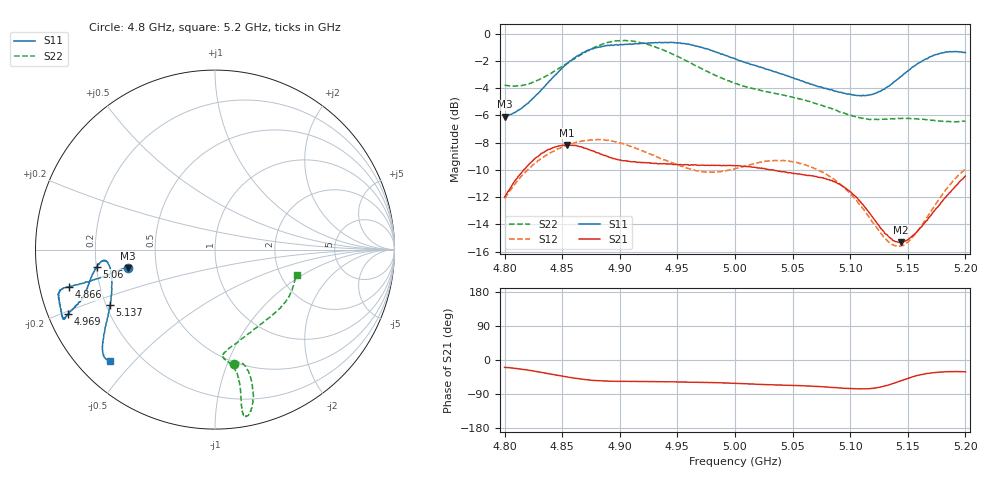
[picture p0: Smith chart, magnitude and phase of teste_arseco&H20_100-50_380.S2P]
! Network Analyzer HP8722D
! Hewlett-Packard
! Data name: Linha & Wilkinson
! Saver's name: Rodrigo Anjos
! Comments: Teste da utilização de aquisição
! continua pelo VNA HP8722D
! Time and date: 6/5/2025 15:44
!  Frequency  S11  S21  S12  S22
# HZ  S  MA R 50
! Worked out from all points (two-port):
!   401 points, 4.8 GHz to 5.2 GHz, reference 50 ohm
!   highest |S21| = -8.17 dB at 4.854 GHz (marker M1); lowest = -15.3 dB at 5.144 GHz (marker M2)
!   |S21| within 3 dB of the highest: 4.806 GHz to 5.093 GHz (286.8 MHz wide, 5.79 % of centre); 5.191835 GHz to end of sweep
!   lowest |S11| = -6.1 dB at 4.8 GHz (marker M3), VSWR 2.97, Z = 17 - j4.6 ohm
!   |S11| at or under -10 dB: nowhere
!   |S22| runs from -6.5 to -0.5 dB; largest |S21 - S12| = 0.62
!   S11 on the Smith chart (normalised r, x): 4.8 GHz: 0.34, -0.09; 4.866 GHz: 0.09, -0.13; 4.969 GHz: 0.06, -0.21; 5.06 GHz: 0.20, -0.07; 5.137 GHz: 0.22, -0.24; 5.2 GHz: 0.09, -0.43
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4.8e9  0.4961 -168.1  0.2513 -19.4  0.2484 -140.7  0.6476 -80.4
4.826e9  0.5872 -167.2  0.3473 -29.5  0.3328 -144.3  0.6664 -75.5
4.854e9  0.776 -165.8  0.3903 -44.7  0.3889 -149.7  0.7775 -74.7
4.866e9  0.8412 -165.5  0.3846 -50.1  0.4027 -151.7  0.8367 -75.2
4.867e9  0.849 -165.8  0.384 -50.5  0.4027 -151.8  0.8434 -75.3
4.88e9  0.8898 -165.4  0.3657 -54.4  0.4088 -154.0  0.9006 -76.6
4.899e9  0.9106 -162.7  0.3442 -56.4  0.3983 -156.5  0.9434 -79.0
4.914e9  0.9204 -159.4  0.338 -56.4  0.3788 -157.0  0.9373 -80.2
4.934e9  0.9305 -156.3  0.3329 -57.4  0.3514 -155.5  0.8838 -80.4
4.969e9  0.8959 -156.3  0.3284 -58.8  0.3127 -147.2  0.7527 -79.6
5e9  0.8097 -159.0  0.3277 -61.6  0.3199 -137.1  0.657 -81.2
5.036e9  0.7236 -165.5  0.3142 -65.7  0.3421 -134.2  0.6022 -85.7
5.06e9  0.667 -171.6  0.303 -68.0  0.3305 -135.9  0.5717 -84.2
5.067e9  0.6521 -173.0  0.3009 -69.1  0.3232 -136.6  0.5601 -82.6
5.088e9  0.6152 -174.1  0.2843 -73.0  0.2873 -138.5  0.524 -74.3
5.103e9  0.5957 -171.5  0.2561 -76.0  0.2509 -138.6  0.4979 -65.3
5.117e9  0.5963 -164.8  0.2188 -75.5  0.2099 -135.0  0.4842 -55.1
5.134e9  0.6432 -154.0  0.1785 -65.3  0.171 -120.8  0.487 -43.3
5.137e9  0.6595 -152.3  0.1741 -62.4  0.1682 -117.0  0.488 -41.5
5.144e9  0.6976 -148.7  0.1711 -54.6  0.166 -107.8  0.488 -37.5
5.172e9  0.8317 -138.8  0.221 -33.5  0.229 -81.1  0.4812 -24.6
5.2e9  0.8527 -133.6  0.3 -31.2  0.319 -76.7  0.4766 -17.5
